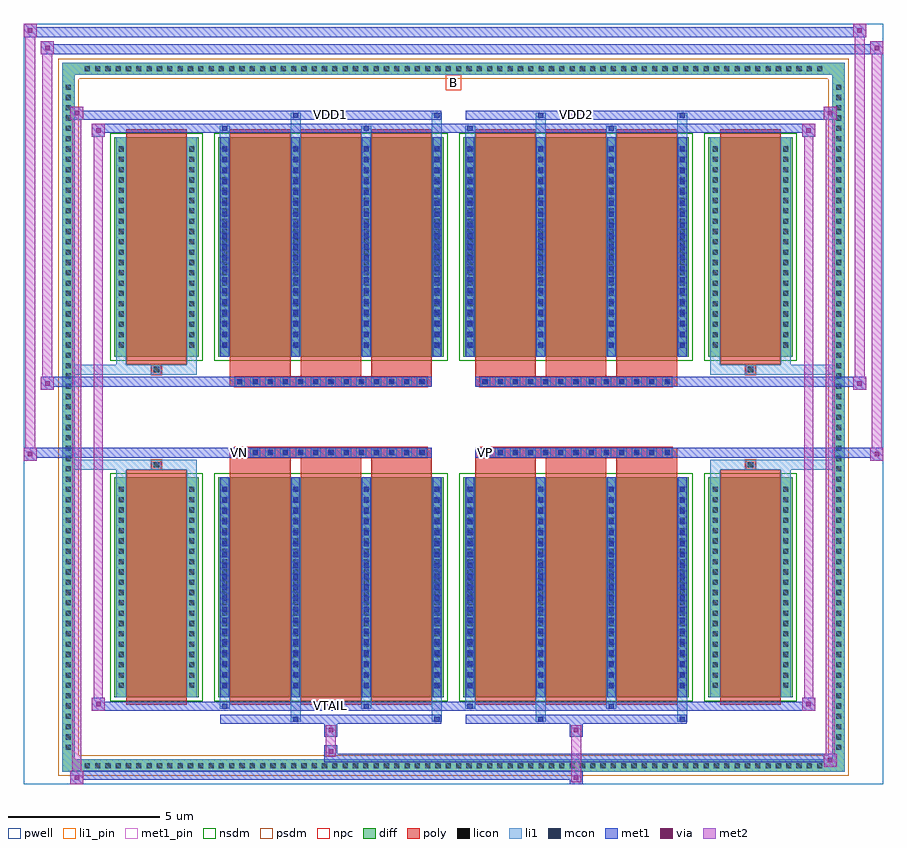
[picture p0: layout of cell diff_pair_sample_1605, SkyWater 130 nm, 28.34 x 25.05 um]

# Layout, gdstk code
import gdstk
lib = gdstk.Library(unit=1e-6, precision=5e-09)
def R(c, l, rs):  # rectangles x0, y0, x1, y1
    for r in rs: c.add(gdstk.rectangle(r[:2], r[2:], *l))
def A(c, l, x, y, w, h, nx, ny, dx, dy):  # array of equal rectangles
    R(c, l, [(x+i*dx, y+j*dy, x+i*dx+w, y+j*dy+h) for i in range(nx) for j in range(ny)])
def P(c, l, *ps):  # polygons
    for p in ps: c.add(gdstk.Polygon(p, *l))
pwell = (64, 44)
diff = (65, 20)
poly = (66, 20)
licon = (66, 44)
li1_pin = (67, 16)
li1 = (67, 20)
mcon = (67, 44)
met1_pin = (68, 16)
met1 = (68, 20)
via = (68, 44)
met2 = (69, 20)
nsdm = (93, 44)
psdm = (94, 20)
npc = (95, 20)

diff_pair_sample_1605 = lib.new_cell('diff_pair_sample_1605')
R(diff_pair_sample_1605, pwell, [(-14.17,-12.09,14.17,12.96), (-11.49,-10.28,-0.01,-0.8), (0.01,-10.28,11.49,-0.8), (-11.49,0.8,-0.01,10.28), (0.01,0.8,11.49,10.28)])
A(diff_pair_sample_1605, diff, -12.275, -11.69, 0.41, 0.41, 72, 2, 0.34, 22.97)
A(diff_pair_sample_1605, diff, -12.9, -11.085, 0.41, 0.41, 1, 65, 0, 0.34)
A(diff_pair_sample_1605, diff, 12.49, -11.085, 0.41, 0.41, 1, 65, 0, 0.34)
R(diff_pair_sample_1605, diff, [(-12.275,-11.69,12.275,-11.28), (-12.9,-11.085,-12.49,11.085), (12.49,-11.085,12.9,11.085), (-11.18,-9.235,-8.4,-1.985), (-7.76,-9.235,-0.32,-1.985), (0.32,-9.235,7.76,-1.985), (8.4,-9.235,11.18,-1.985), (-11.18,1.985,-8.4,9.235), (-7.76,1.985,-0.32,9.235), (0.32,1.985,7.76,9.235), (8.4,1.985,11.18,9.235), (-12.275,11.28,12.275,11.69)])
P(diff_pair_sample_1605, diff, [(12.9,11.69),(-12.9,11.69),(-12.9,-11.28),(-12.49,-11.28),(-12.49,11.28),(12.49,11.28),(12.49,-11.28),(-12.49,-11.28),(-12.9,-11.28),(-12.9,-11.69),(12.9,-11.69)])
A(diff_pair_sample_1605, poly, -7.37, -9.485, 2, 7.75, 3, 2, 2.33, 11.22)
A(diff_pair_sample_1605, poly, 0.71, -9.485, 2, 7.75, 3, 2, 2.33, 11.22)
A(diff_pair_sample_1605, poly, -7.37, -1.735, 2, 0.405, 3, 2, 2.33, 3.065)
A(diff_pair_sample_1605, poly, 0.71, -1.735, 2, 0.405, 3, 2, 2.33, 3.065)
A(diff_pair_sample_1605, poly, -7.205, -1.33, 0.33, 0.33, 13, 2, 0.5, 2.33)
A(diff_pair_sample_1605, poly, 0.875, -1.33, 0.33, 0.33, 13, 2, 0.5, 2.33)
R(diff_pair_sample_1605, poly, [(-10.79,-9.485,-8.79,-1.735), (8.79,-9.485,10.79,-1.735), (-9.955,-1.735,-9.625,-1.405), (-9.955,-1.735,-9.625,-1.405), (9.625,-1.735,9.955,-1.405), (9.625,-1.735,9.955,-1.405), (-7.37,-1.33,-0.71,-1), (0.71,-1.33,7.37,-1), (-7.37,1,-0.71,1.33), (0.71,1,7.37,1.33), (-9.955,1.405,-9.625,1.735), (-9.955,1.405,-9.625,1.735), (9.625,1.405,9.955,1.735), (9.625,1.405,9.955,1.735), (-10.79,1.735,-8.79,9.485), (8.79,1.735,10.79,9.485)])
A(diff_pair_sample_1605, licon, -12.155, -11.57, 0.17, 0.17, 72, 2, 0.34, 22.97)
A(diff_pair_sample_1605, licon, -12.78, -10.965, 0.17, 0.17, 1, 65, 0, 0.34)
A(diff_pair_sample_1605, licon, 12.61, -10.965, 0.17, 0.17, 1, 65, 0, 0.34)
A(diff_pair_sample_1605, licon, -11.04, -8.925, 0.17, 0.17, 1, 20, 0, 0.34)
A(diff_pair_sample_1605, licon, -8.71, -8.925, 0.17, 0.17, 1, 20, 0, 0.34)
A(diff_pair_sample_1605, licon, -7.62, -8.925, 0.17, 0.17, 4, 20, 2.33, 0.34)
A(diff_pair_sample_1605, licon, 0.46, -8.925, 0.17, 0.17, 4, 20, 2.33, 0.34)
A(diff_pair_sample_1605, licon, 8.54, -8.925, 0.17, 0.17, 1, 20, 0, 0.34)
A(diff_pair_sample_1605, licon, 10.87, -8.925, 0.17, 0.17, 1, 20, 0, 0.34)
A(diff_pair_sample_1605, licon, -7.125, -1.25, 0.17, 0.17, 13, 2, 0.5, 2.33)
A(diff_pair_sample_1605, licon, 0.955, -1.25, 0.17, 0.17, 13, 2, 0.5, 2.33)
A(diff_pair_sample_1605, licon, -11.04, 2.295, 0.17, 0.17, 1, 20, 0, 0.34)
A(diff_pair_sample_1605, licon, -8.71, 2.295, 0.17, 0.17, 1, 20, 0, 0.34)
A(diff_pair_sample_1605, licon, -7.62, 2.295, 0.17, 0.17, 4, 20, 2.33, 0.34)
A(diff_pair_sample_1605, licon, 0.46, 2.295, 0.17, 0.17, 4, 20, 2.33, 0.34)
A(diff_pair_sample_1605, licon, 8.54, 2.295, 0.17, 0.17, 1, 20, 0, 0.34)
A(diff_pair_sample_1605, licon, 10.87, 2.295, 0.17, 0.17, 1, 20, 0, 0.34)
R(diff_pair_sample_1605, licon, [(-9.875,-1.655,-9.705,-1.485), (9.705,-1.655,9.875,-1.485), (-9.875,1.485,-9.705,1.655), (9.705,1.485,9.875,1.655)])
R(diff_pair_sample_1605, li1_pin, [(-0.25,10.78,0.25,11.28)])
A(diff_pair_sample_1605, li1, -12.235, -11.65, 0.33, 0.33, 72, 2, 0.34, 22.97)
A(diff_pair_sample_1605, li1, -12.86, -11.045, 0.33, 0.33, 1, 65, 0, 0.34)
A(diff_pair_sample_1605, li1, 12.53, -11.045, 0.33, 0.33, 1, 65, 0, 0.34)
A(diff_pair_sample_1605, li1, -7.7, -9.235, 0.33, 7.25, 4, 2, 2.33, 11.22)
A(diff_pair_sample_1605, li1, 0.38, -9.235, 0.33, 7.25, 4, 2, 2.33, 11.22)
A(diff_pair_sample_1605, li1, -11.12, -9.005, 0.33, 0.33, 1, 20, 0, 0.34)
A(diff_pair_sample_1605, li1, -8.79, -9.005, 0.33, 0.33, 1, 20, 0, 0.34)
A(diff_pair_sample_1605, li1, -7.7, -9.005, 0.33, 0.33, 4, 20, 2.33, 0.34)
A(diff_pair_sample_1605, li1, 0.38, -9.005, 0.33, 0.33, 4, 20, 2.33, 0.34)
A(diff_pair_sample_1605, li1, 8.46, -9.005, 0.33, 0.33, 1, 20, 0, 0.34)
A(diff_pair_sample_1605, li1, 10.79, -9.005, 0.33, 0.33, 1, 20, 0, 0.34)
A(diff_pair_sample_1605, li1, -7.62, -8.935, 0.17, 0.17, 4, 19, 2.33, 0.36)
A(diff_pair_sample_1605, li1, -7.62, -8.935, 0.17, 6.65, 4, 2, 2.33, 11.22)
A(diff_pair_sample_1605, li1, 0.46, -8.935, 0.17, 0.17, 4, 19, 2.33, 0.36)
A(diff_pair_sample_1605, li1, 0.46, -8.935, 0.17, 6.65, 4, 2, 2.33, 11.22)
A(diff_pair_sample_1605, li1, -7.205, -1.33, 0.33, 0.33, 13, 2, 0.5, 2.33)
A(diff_pair_sample_1605, li1, 0.875, -1.33, 0.33, 0.33, 13, 2, 0.5, 2.33)
A(diff_pair_sample_1605, li1, -11.12, 2.215, 0.33, 0.33, 1, 20, 0, 0.34)
A(diff_pair_sample_1605, li1, -8.79, 2.215, 0.33, 0.33, 1, 20, 0, 0.34)
A(diff_pair_sample_1605, li1, -7.7, 2.215, 0.33, 0.33, 4, 20, 2.33, 0.34)
A(diff_pair_sample_1605, li1, 0.38, 2.215, 0.33, 0.33, 4, 20, 2.33, 0.34)
A(diff_pair_sample_1605, li1, 8.46, 2.215, 0.33, 0.33, 1, 20, 0, 0.34)
A(diff_pair_sample_1605, li1, 10.79, 2.215, 0.33, 0.33, 1, 20, 0, 0.34)
A(diff_pair_sample_1605, li1, -7.62, 2.285, 0.17, 0.17, 4, 19, 2.33, 0.36)
A(diff_pair_sample_1605, li1, 0.46, 2.285, 0.17, 0.17, 4, 19, 2.33, 0.36)
R(diff_pair_sample_1605, li1, [(-12.9,-11.69,-12.49,-11.28), (-12.9,-11.69,-12.49,-11.28), (-12.49,-11.69,12.49,-11.28), (12.49,-11.69,12.9,-11.28), (12.49,-11.69,12.9,-11.28), (-12.9,-11.28,-12.49,11.28), (12.49,-11.28,12.9,11.28), (-5.37,-10.04,-5.04,-9.235), (-5.29,-10.04,-5.12,-9.87), (-0.71,-10.04,-0.38,-9.235), (-0.63,-10.04,-0.46,-9.87), (2.71,-10.04,3.04,-9.235), (2.79,-10.04,2.96,-9.87), (7.37,-10.04,7.7,-9.235), (7.45,-10.04,7.62,-9.87), (-7.7,-9.61,-7.37,-9.235), (-7.62,-9.61,-7.45,-9.44), (-3.04,-9.61,-2.71,-9.235), (-2.96,-9.61,-2.79,-9.44), (0.38,-9.61,0.71,-9.235), (0.46,-9.61,0.63,-9.44), (5.04,-9.61,5.37,-9.235), (5.12,-9.61,5.29,-9.44), (-11.12,-9.235,-10.79,-1.985), (-8.79,-9.235,-8.46,-1.985), (8.46,-9.235,8.79,-1.985), (10.79,-9.235,11.12,-1.985), (-11.12,-1.985,-10.79,-1.405), (-8.79,-1.985,-8.46,-1.405), (8.46,-1.985,8.79,-1.405), (10.79,-1.985,11.12,-1.405), (-12.9,-1.735,-9.955,-1.405), (-11.12,-1.735,-9.955,-1.405), (-9.955,-1.735,-9.625,-1.405), (-9.625,-1.735,-8.46,-1.405), (8.46,-1.735,9.625,-1.405), (9.625,-1.735,9.955,-1.405), (9.625,-1.735,12.9,-1.405), (9.955,-1.735,11.12,-1.405), (-12.9,1.405,-9.955,1.735), (-11.12,1.405,-9.955,1.735), (-11.12,1.405,-10.79,1.985), (-9.955,1.405,-9.625,1.735), (-9.625,1.405,-8.46,1.735), (-8.79,1.405,-8.46,1.985), (8.46,1.405,9.625,1.735), (8.46,1.405,8.79,1.985), (9.625,1.405,9.955,1.735), (9.625,1.405,12.9,1.735), (9.955,1.405,11.12,1.735), (10.79,1.405,11.12,1.985), (-11.12,1.985,-10.79,9.235), (-8.79,1.985,-8.46,9.235), (8.46,1.985,8.79,9.235), (10.79,1.985,11.12,9.235), (-7.7,9.235,-7.37,9.61), (-5.37,9.235,-5.04,10.04), (-3.04,9.235,-2.71,9.61), (-0.71,9.235,-0.38,10.04), (0.38,9.235,0.71,9.61), (2.71,9.235,3.04,10.04), (5.04,9.235,5.37,9.61), (7.37,9.235,7.7,10.04), (-7.62,9.44,-7.45,9.61), (-2.96,9.44,-2.79,9.61), (0.46,9.44,0.63,9.61), (5.12,9.44,5.29,9.61), (-5.29,9.87,-5.12,10.04), (-0.63,9.87,-0.46,10.04), (2.79,9.87,2.96,10.04), (7.45,9.87,7.62,10.04), (-12.9,11.28,-12.49,11.69), (-12.9,11.28,-12.49,11.69), (-12.49,11.28,12.49,11.69), (12.49,11.28,12.9,11.69), (12.49,11.28,12.9,11.69)])
A(diff_pair_sample_1605, mcon, -7.62, -8.935, 0.17, 0.17, 4, 19, 2.33, 0.36)
A(diff_pair_sample_1605, mcon, 0.46, -8.935, 0.17, 0.17, 4, 19, 2.33, 0.36)
A(diff_pair_sample_1605, mcon, -7.125, -1.25, 0.17, 0.17, 13, 2, 0.5, 2.33)
A(diff_pair_sample_1605, mcon, 0.955, -1.25, 0.17, 0.17, 13, 2, 0.5, 2.33)
A(diff_pair_sample_1605, mcon, -7.62, 2.285, 0.17, 0.17, 4, 19, 2.33, 0.36)
A(diff_pair_sample_1605, mcon, 0.46, 2.285, 0.17, 0.17, 4, 19, 2.33, 0.36)
R(diff_pair_sample_1605, mcon, [(-5.29,-10.04,-5.12,-9.87), (-0.63,-10.04,-0.46,-9.87), (2.79,-10.04,2.96,-9.87), (7.45,-10.04,7.62,-9.87), (-7.62,-9.61,-7.45,-9.44), (-2.96,-9.61,-2.79,-9.44), (0.46,-9.61,0.63,-9.44), (5.12,-9.61,5.29,-9.44), (-7.62,9.44,-7.45,9.61), (-2.96,9.44,-2.79,9.61), (0.46,9.44,0.63,9.61), (5.12,9.44,5.29,9.61), (-5.29,9.87,-5.12,10.04), (-0.63,9.87,-0.46,10.04), (2.79,9.87,2.96,10.04), (7.45,9.87,7.62,10.04)])
R(diff_pair_sample_1605, met1_pin, [(-4.175,-9.65,-3.905,-9.38), (-7.175,-1.29,-6.905,-1.02), (0.905,-1.29,1.175,-1.02), (-4.175,9.83,-3.905,10.1), (3.905,9.83,4.175,10.1)])
A(diff_pair_sample_1605, met1, -7.68, -9.235, 0.29, 7.25, 4, 2, 2.33, 11.22)
A(diff_pair_sample_1605, met1, 0.4, -9.235, 0.29, 7.25, 4, 2, 2.33, 11.22)
A(diff_pair_sample_1605, met1, -7.68, -8.995, 0.29, 0.29, 4, 19, 2.33, 0.36)
A(diff_pair_sample_1605, met1, 0.4, -8.995, 0.29, 0.29, 4, 19, 2.33, 0.36)
A(diff_pair_sample_1605, met1, -7.185, -1.31, 0.29, 0.29, 13, 2, 0.5, 2.33)
A(diff_pair_sample_1605, met1, 0.895, -1.31, 0.29, 0.29, 13, 2, 0.5, 2.33)
A(diff_pair_sample_1605, met1, -7.68, 2.225, 0.29, 0.29, 4, 19, 2.33, 0.36)
A(diff_pair_sample_1605, met1, 0.4, 2.225, 0.29, 0.29, 4, 19, 2.33, 0.36)
R(diff_pair_sample_1605, met1, [(-12.63,-12.09,-12.2,-11.66), (3.825,-12.09,4.255,-11.66), (-12.63,-11.95,4.255,-11.66), (12.2,-11.52,12.63,-11.09), (-4.255,-11.38,12.63,-11.09), (-4.255,-11.24,-3.825,-10.81), (-4.255,-10.53,-3.825,-10.1), (3.825,-10.53,4.255,-10.1), (-7.68,-10.1,-0.4,-9.81), (-5.35,-10.1,-5.06,-9.81), (-0.69,-10.1,-0.4,-9.81), (0.4,-10.1,7.68,-9.81), (2.73,-10.1,3.02,-9.81), (7.39,-10.1,7.68,-9.81), (-11.92,-9.67,-11.49,-9.24), (-11.92,-9.67,-7.68,-9.38), (-7.68,-9.67,-7.39,-9.38), (-7.68,-9.67,-0.4,-9.38), (-3.02,-9.67,-2.73,-9.38), (-0.4,-9.67,0.4,-9.38), (0.4,-9.67,0.69,-9.38), (0.4,-9.67,7.68,-9.38), (5.06,-9.67,5.35,-9.38), (7.68,-9.67,11.92,-9.38), (11.49,-9.67,11.92,-9.24), (-14.17,-1.43,-13.74,-1), (13.74,-1.43,14.17,-1), (-14.17,-1.33,-0.71,-1), (-7.37,-1.33,-0.71,-1), (0.71,-1.33,7.37,-1), (0.71,-1.33,14.17,-1), (-13.6,0.9,-13.17,1.33), (13.17,0.9,13.6,1.33), (-13.6,1,-7.37,1.33), (-7.37,1,-0.71,1.33), (0.71,1,7.37,1.33), (7.37,1,13.6,1.33), (-11.92,9.24,-11.49,9.67), (11.49,9.24,11.92,9.67), (-11.92,9.38,-7.68,9.67), (-7.68,9.38,-7.39,9.67), (-7.68,9.38,-0.4,9.67), (-3.02,9.38,-2.73,9.67), (-0.4,9.38,0.4,9.67), (0.4,9.38,0.69,9.67), (0.4,9.38,7.68,9.67), (5.06,9.38,5.35,9.67), (7.68,9.38,11.92,9.67), (-12.63,9.81,-12.2,10.24), (-12.63,9.81,-7.68,10.1), (-7.68,9.81,-0.4,10.1), (-5.35,9.81,-5.06,10.1), (-0.69,9.81,-0.4,10.1), (0.4,9.81,7.68,10.1), (2.73,9.81,3.02,10.1), (7.39,9.81,7.68,10.1), (7.68,9.81,12.63,10.1), (12.2,9.81,12.63,10.24), (-13.6,11.96,-13.17,12.39), (-13.6,11.96,-11.49,12.29), (-11.49,11.96,11.49,12.29), (11.49,11.96,14.17,12.29), (13.74,11.96,14.17,12.39), (-14.17,12.53,-13.74,12.96), (-14.17,12.53,-11.49,12.86), (-11.49,12.53,11.49,12.86), (11.49,12.53,13.6,12.86), (13.17,12.53,13.6,12.96)])
R(diff_pair_sample_1605, via, [(-12.49,-11.95,-12.34,-11.8), (3.965,-11.95,4.115,-11.8), (12.34,-11.38,12.49,-11.23), (-4.115,-11.1,-3.965,-10.95), (-4.115,-10.39,-3.965,-10.24), (3.965,-10.39,4.115,-10.24), (-11.78,-9.53,-11.63,-9.38), (11.63,-9.53,11.78,-9.38), (-14.03,-1.29,-13.88,-1.14), (13.88,-1.29,14.03,-1.14), (-13.46,1.04,-13.31,1.19), (13.31,1.04,13.46,1.19), (-11.78,9.38,-11.63,9.53), (11.63,9.38,11.78,9.53), (-12.49,9.95,-12.34,10.1), (12.34,9.95,12.49,10.1), (-13.46,12.1,-13.31,12.25), (13.88,12.1,14.03,12.25), (-14.03,12.67,-13.88,12.82), (13.31,12.67,13.46,12.82)])
R(diff_pair_sample_1605, met2, [(-12.63,-12.09,-12.2,-11.66), (-12.56,-12.09,-12.27,10.24), (-12.27,-12.09,-12.2,-11.66), (-12.58,-12.04,-12.25,-11.71), (3.875,-12.04,4.205,-11.71), (3.875,-11.71,4.205,-10.48), (12.2,-11.52,12.63,-11.09), (12.27,-11.52,12.56,10.24), (12.56,-11.52,12.63,-11.09), (12.25,-11.47,12.58,-11.14), (-4.205,-11.19,-3.875,-10.86), (-4.205,-10.86,-3.875,-10.48), (-4.205,-10.48,-3.875,-10.15), (3.875,-10.48,4.205,-10.15), (-11.92,-9.67,-11.49,-9.24), (-11.85,-9.67,-11.56,9.67), (-11.56,-9.67,-11.49,-9.24), (11.49,-9.67,11.92,-9.24), (11.56,-9.67,11.85,9.67), (11.85,-9.67,11.92,-9.24), (-11.87,-9.62,-11.54,-9.29), (11.54,-9.62,11.87,-9.29), (-14.17,-1.43,-13.74,-1), (-14.12,-1.43,-13.79,12.96), (-13.79,-1.43,-13.74,-1), (13.74,-1.43,14.17,-1), (13.79,-1.43,14.12,12.39), (14.12,-1.43,14.17,-1), (-14.12,-1.38,-13.79,-1.05), (13.79,-1.38,14.12,-1.05), (-13.6,0.9,-13.17,1.33), (-13.55,0.9,-13.22,12.39), (-13.22,0.9,-13.17,1.33), (13.17,0.9,13.6,1.33), (13.22,0.9,13.55,12.96), (13.55,0.9,13.6,1.33), (-13.55,0.95,-13.22,1.28), (13.22,0.95,13.55,1.28), (-11.92,9.24,-11.49,9.67), (-11.56,9.24,-11.49,9.67), (11.49,9.24,11.92,9.67), (11.85,9.24,11.92,9.67), (-11.87,9.29,-11.54,9.62), (11.54,9.29,11.87,9.62), (-12.63,9.81,-12.2,10.24), (-12.27,9.81,-12.2,10.24), (12.2,9.81,12.63,10.24), (12.56,9.81,12.63,10.24), (-12.58,9.86,-12.25,10.19), (12.25,9.86,12.58,10.19), (-13.6,11.96,-13.17,12.39), (-13.22,11.96,-13.17,12.39), (13.74,11.96,14.17,12.39), (14.12,11.96,14.17,12.39), (-13.55,12.01,-13.22,12.34), (13.79,12.01,14.12,12.34), (-14.17,12.53,-13.74,12.96), (-13.79,12.53,-13.74,12.96), (13.17,12.53,13.6,12.96), (13.55,12.53,13.6,12.96), (-14.12,12.58,-13.79,12.91), (13.22,12.58,13.55,12.91)])
R(diff_pair_sample_1605, nsdm, [(-11.31,-9.365,-8.27,-1.855), (-7.89,-9.365,-0.19,-1.855), (0.19,-9.365,7.89,-1.855), (8.27,-9.365,11.31,-1.855), (-11.31,1.855,-8.27,9.365), (-7.89,1.855,-0.19,9.365), (0.19,1.855,7.89,9.365), (8.27,1.855,11.31,9.365)])
P(diff_pair_sample_1605, psdm, [(13.03,11.82),(-13.03,11.82),(-13.03,-11.15),(-12.36,-11.15),(-12.36,11.15),(12.36,11.15),(12.36,-11.15),(-12.36,-11.15),(-13.03,-11.15),(-13.03,-11.82),(13.03,-11.82)])
A(diff_pair_sample_1605, npc, -7.225, -1.35, 0.37, 0.37, 13, 2, 0.5, 2.33)
A(diff_pair_sample_1605, npc, 0.855, -1.35, 0.37, 0.37, 13, 2, 0.5, 2.33)
R(diff_pair_sample_1605, npc, [(-9.975,-1.755,-9.605,-1.385), (9.605,-1.755,9.975,-1.385), (-7.225,-1.35,-6.355,-0.98), (-7.225,-1.35,-6.355,-0.98), (-6.725,-1.35,-5.855,-0.98), (-6.725,-1.35,-5.855,-0.98), (-6.225,-1.35,-5.355,-0.98), (-6.225,-1.35,-5.355,-0.98), (-5.725,-1.35,-4.855,-0.98), (-5.725,-1.35,-4.855,-0.98), (-5.225,-1.35,-4.355,-0.98), (-5.225,-1.35,-4.355,-0.98), (-4.725,-1.35,-3.855,-0.98), (-4.725,-1.35,-3.855,-0.98), (-4.225,-1.35,-3.355,-0.98), (-4.225,-1.35,-3.355,-0.98), (-3.725,-1.35,-2.855,-0.98), (-3.725,-1.35,-2.855,-0.98), (-3.225,-1.35,-2.355,-0.98), (-3.225,-1.35,-2.355,-0.98), (-2.725,-1.35,-1.855,-0.98), (-2.725,-1.35,-1.855,-0.98), (-2.225,-1.35,-1.355,-0.98), (-2.225,-1.35,-1.355,-0.98), (-1.725,-1.35,-0.855,-0.98), (-1.725,-1.35,-0.855,-0.98), (0.855,-1.35,1.725,-0.98), (0.855,-1.35,1.725,-0.98), (1.355,-1.35,2.225,-0.98), (1.355,-1.35,2.225,-0.98), (1.855,-1.35,2.725,-0.98), (1.855,-1.35,2.725,-0.98), (2.355,-1.35,3.225,-0.98), (2.355,-1.35,3.225,-0.98), (2.855,-1.35,3.725,-0.98), (2.855,-1.35,3.725,-0.98), (3.355,-1.35,4.225,-0.98), (3.355,-1.35,4.225,-0.98), (3.855,-1.35,4.725,-0.98), (3.855,-1.35,4.725,-0.98), (4.355,-1.35,5.225,-0.98), (4.355,-1.35,5.225,-0.98), (4.855,-1.35,5.725,-0.98), (4.855,-1.35,5.725,-0.98), (5.355,-1.35,6.225,-0.98), (5.355,-1.35,6.225,-0.98), (5.855,-1.35,6.725,-0.98), (5.855,-1.35,6.725,-0.98), (6.355,-1.35,7.225,-0.98), (6.355,-1.35,7.225,-0.98), (-7.225,0.98,-6.355,1.35), (-7.225,0.98,-6.355,1.35), (-6.725,0.98,-5.855,1.35), (-6.725,0.98,-5.855,1.35), (-6.225,0.98,-5.355,1.35), (-6.225,0.98,-5.355,1.35), (-5.725,0.98,-4.855,1.35), (-5.725,0.98,-4.855,1.35), (-5.225,0.98,-4.355,1.35), (-5.225,0.98,-4.355,1.35), (-4.725,0.98,-3.855,1.35), (-4.725,0.98,-3.855,1.35), (-4.225,0.98,-3.355,1.35), (-4.225,0.98,-3.355,1.35), (-3.725,0.98,-2.855,1.35), (-3.725,0.98,-2.855,1.35), (-3.225,0.98,-2.355,1.35), (-3.225,0.98,-2.355,1.35), (-2.725,0.98,-1.855,1.35), (-2.725,0.98,-1.855,1.35), (-2.225,0.98,-1.355,1.35), (-2.225,0.98,-1.355,1.35), (-1.725,0.98,-0.855,1.35), (-1.725,0.98,-0.855,1.35), (0.855,0.98,1.725,1.35), (0.855,0.98,1.725,1.35), (1.355,0.98,2.225,1.35), (1.355,0.98,2.225,1.35), (1.855,0.98,2.725,1.35), (1.855,0.98,2.725,1.35), (2.355,0.98,3.225,1.35), (2.355,0.98,3.225,1.35), (2.855,0.98,3.725,1.35), (2.855,0.98,3.725,1.35), (3.355,0.98,4.225,1.35), (3.355,0.98,4.225,1.35), (3.855,0.98,4.725,1.35), (3.855,0.98,4.725,1.35), (4.355,0.98,5.225,1.35), (4.355,0.98,5.225,1.35), (4.855,0.98,5.725,1.35), (4.855,0.98,5.725,1.35), (5.355,0.98,6.225,1.35), (5.355,0.98,6.225,1.35), (5.855,0.98,6.725,1.35), (5.855,0.98,6.725,1.35), (6.355,0.98,7.225,1.35), (6.355,0.98,7.225,1.35), (-9.975,1.385,-9.605,1.755), (9.605,1.385,9.975,1.755)])
diff_pair_sample_1605.add(gdstk.Label('VTAIL', (-4.04,-9.515), layer=68, texttype=5))
diff_pair_sample_1605.add(gdstk.Label('VN', (-7.04,-1.155), layer=68, texttype=5))
diff_pair_sample_1605.add(gdstk.Label('VP', (1.04,-1.155), layer=68, texttype=5))
diff_pair_sample_1605.add(gdstk.Label('B', (0,11.03), layer=67, texttype=5))
diff_pair_sample_1605.add(gdstk.Label('VDD2', (4.04,9.965), layer=68, texttype=5))
diff_pair_sample_1605.add(gdstk.Label('VDD1', (-4.04,9.965), layer=68, texttype=5))

lib.write_gds('diff_pair_sample_1605.gds')
